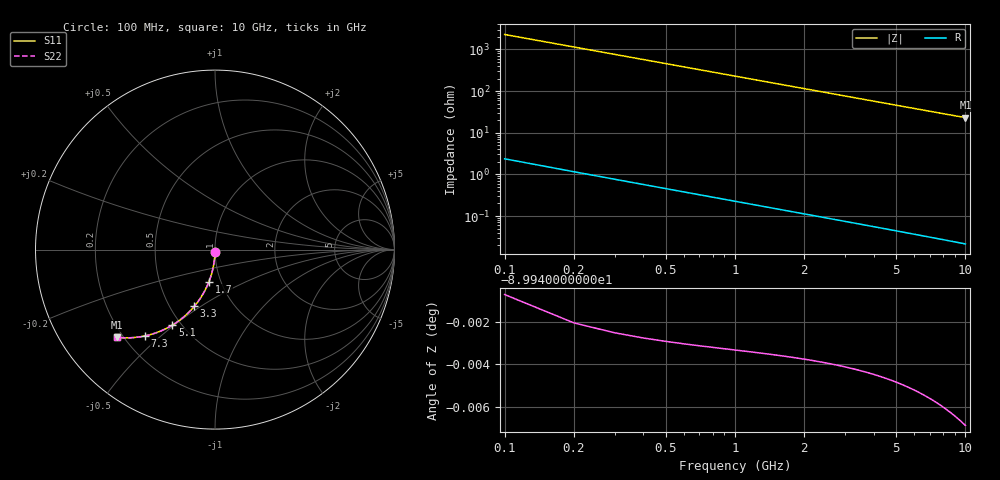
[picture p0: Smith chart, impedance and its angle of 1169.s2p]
# Hz S RI R 50.00
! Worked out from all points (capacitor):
!   100 points, 100 MHz to 10 GHz, reference 50 ohm
!   read as one part in shunt: C = 696 fF near 100 MHz
!   lowest |Z| = 23 ohm at 10 GHz (marker M1)
!   S11 on the Smith chart (normalised r, x): 100 MHz: 1.00, -0.02; 1.7 GHz: 0.88, -0.32; 3.3 GHz: 0.66, -0.47; 5.1 GHz: 0.45, -0.49; 7.3 GHz: 0.29, -0.44; 10 GHz: 0.18, -0.37
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1e8  -6.53e-05 -0.0108  0.9998 -0.011  0.9998 -0.011  -6.53e-05 -0.0108
2e8  -0.000434 -0.0217  0.9994 -0.022  0.9994 -0.022  -0.000434 -0.0217
3e8  -0.00104 -0.0325  0.9988 -0.033  0.9988 -0.033  -0.00104 -0.0325
4e8  -0.00189 -0.0433  0.998 -0.044  0.998 -0.044  -0.00189 -0.0433
5e8  -0.00297 -0.0541  0.9969 -0.0549  0.9969 -0.0549  -0.00297 -0.0541
6e8  -0.00428 -0.0648  0.9956 -0.0658  0.9956 -0.0658  -0.00428 -0.0648
8e8  -0.00761 -0.0861  0.9923 -0.0875  0.9923 -0.0875  -0.00761 -0.0861
9e8  -0.00962 -0.0967  0.9902 -0.0982  0.9902 -0.0982  -0.00962 -0.0967
1.1e9  -0.0143 -0.1176  0.9856 -0.1195  0.9856 -0.1195  -0.0143 -0.1176
1.4e9  -0.023 -0.1483  0.9769 -0.1508  0.9769 -0.1508  -0.023 -0.1483
1.7e9  -0.0335 -0.1781  0.9664 -0.1811  0.9664 -0.1811  -0.0335 -0.1781
1.8e9  -0.0374 -0.1878  0.9625 -0.191  0.9625 -0.191  -0.0374 -0.1878
2.1e9  -0.0502 -0.2162  0.9496 -0.2199  0.9496 -0.2199  -0.0502 -0.2162
2.5e9  -0.0697 -0.2521  0.9302 -0.2564  0.9302 -0.2564  -0.0697 -0.2521
3.3e9  -0.1154 -0.3162  0.8844 -0.322  0.8844 -0.322  -0.1154 -0.3162
3.4e9  -0.1216 -0.3235  0.8782 -0.3294  0.8782 -0.3294  -0.1216 -0.3235
4.2e9  -0.1744 -0.3754  0.8254 -0.3827  0.8254 -0.3827  -0.1744 -0.3754
5.1e9  -0.2375 -0.4206  0.7623 -0.4295  0.7623 -0.4295  -0.2375 -0.4206
6.7e9  -0.3496 -0.4705  0.6502 -0.4822  0.6502 -0.4822  -0.3496 -0.4705
7.3e9  -0.3896 -0.4808  0.6102 -0.4936  0.6102 -0.4936  -0.3896 -0.4808
8.4e9  -0.4581 -0.4904  0.5416 -0.5051  0.5416 -0.5051  -0.4581 -0.4904
1e10  -0.5453 -0.4886  0.4544 -0.5062  0.4544 -0.5062  -0.5453 -0.4886
